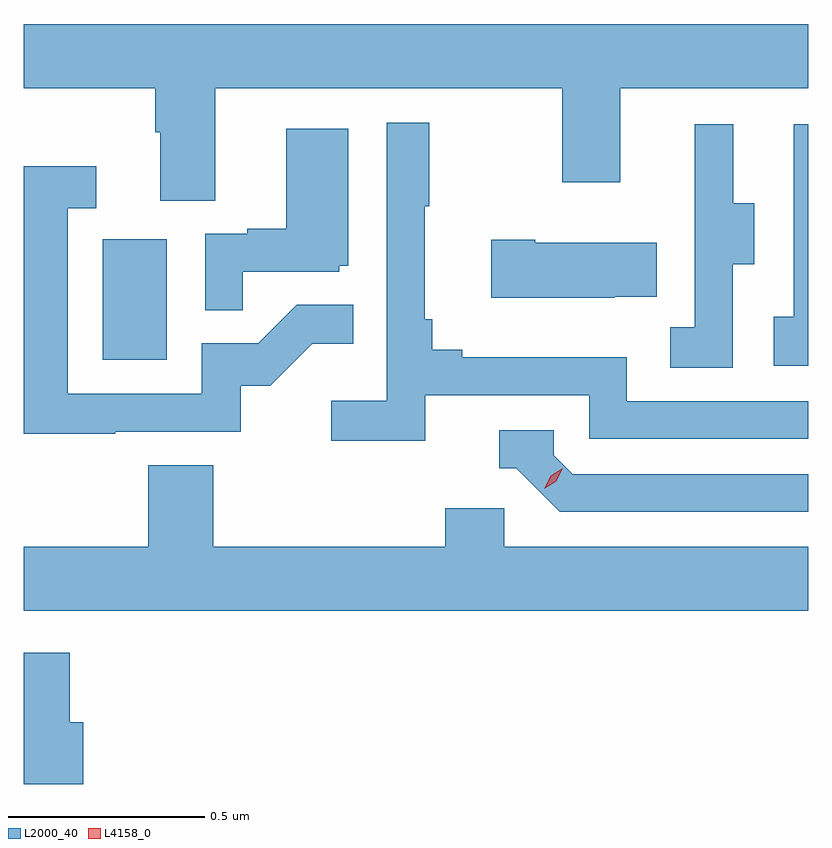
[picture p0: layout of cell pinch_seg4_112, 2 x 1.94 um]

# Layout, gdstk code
import gdstk
lib = gdstk.Library(unit=1e-6, precision=1e-09)
def R(c, l, rs):  # rectangles x0, y0, x1, y1
    for r in rs: c.add(gdstk.rectangle(r[:2], r[2:], *l))
def P(c, l, *ps):  # polygons
    for p in ps: c.add(gdstk.Polygon(p, *l))
L2000_40 = (2000, 40)
L4158_0 = (4158, 0)

pinch_seg4_112 = lib.new_cell('pinch_seg4_112')
R(pinch_seg4_112, L2000_40, [(1059.314,792.132,1059.478,792.439)])
P(pinch_seg4_112, L2000_40, [(1059.113,792.824),(1059.449,792.824),(1059.449,792.712),(1059.461,792.712),(1059.461,792.538),(1059.601,792.538),(1059.601,792.824),(1060.486,792.824),(1060.486,792.585),(1060.633,792.585),(1060.633,792.824),(1061.113,792.824),(1061.113,792.988),(1059.113,792.988)],
  [(1060.136,792.042),(1060.554,792.042),(1060.554,791.931),(1061.113,791.931),(1061.113,792.027),(1060.65,792.027),(1060.65,792.139),(1060.231,792.139),(1060.231,792.158),(1060.154,792.158),(1060.154,792.235),(1060.135,792.235),(1060.135,792.523),(1060.147,792.523),(1060.147,792.736),(1060.038,792.736),(1060.038,792.028),(1059.897,792.028),(1059.897,791.926),(1060.136,791.926)],
  [(1060.92,792.376),(1060.975,792.376),(1060.975,792.531),(1060.921,792.531),(1060.921,792.733),(1060.823,792.733),(1060.823,792.519),(1060.824,792.519),(1060.824,792.215),(1060.761,792.215),(1060.761,792.112),(1060.92,792.112)],
  [(1061.113,792.733),(1061.076,792.733),(1061.076,792.242),(1061.025,792.242),(1061.025,792.117),(1061.113,792.117)],
  [(1059.671,792.357),(1059.918,792.357),(1059.918,792.372),(1059.94,792.372),(1059.94,792.721),(1059.782,792.721),(1059.782,792.466),(1059.683,792.466),(1059.683,792.453),(1059.576,792.453),(1059.576,792.259),(1059.671,792.259)],
  [(1059.347,791.949),(1059.666,791.949),(1059.666,792.066),(1059.742,792.066),(1059.849,792.173),(1059.953,792.173),(1059.953,792.272),(1059.809,792.272),(1059.711,792.174),(1059.567,792.174),(1059.567,792.045),(1059.225,792.045),(1059.225,792.519),(1059.298,792.519),(1059.298,792.625),(1059.113,792.625),(1059.113,791.944),(1059.347,791.944)],
  [(1060.619,792.293),(1060.727,792.293),(1060.727,792.43),(1060.417,792.43),(1060.417,792.438),(1060.305,792.438),(1060.305,792.29),(1060.619,792.29)],
  [(1061.113,791.841),(1060.512,791.841),(1060.464,791.889),(1060.464,791.952),(1060.325,791.952),(1060.325,791.856),(1060.368,791.856),(1060.479,791.745),(1061.113,791.745)],
  [(1061.113,791.656),(1060.338,791.656),(1060.338,791.754),(1060.187,791.754),(1060.187,791.656),(1059.596,791.656),(1059.596,791.864),(1059.431,791.864),(1059.431,791.656),(1059.113,791.656),(1059.113,791.492),(1061.113,791.492)],
  [(1059.265,791.209),(1059.23,791.209),(1059.23,791.386),(1059.113,791.386),(1059.113,791.051),(1059.265,791.051)])
P(pinch_seg4_112, L4158_0, [(1060.44,791.803),(1060.44,791.803),(1060.456,791.836),(1060.487,791.856),(1060.487,791.856),(1060.487,791.856),(1060.471,791.823),(1060.44,791.803)])

lib.write_gds('pinch_seg4_112.gds')
